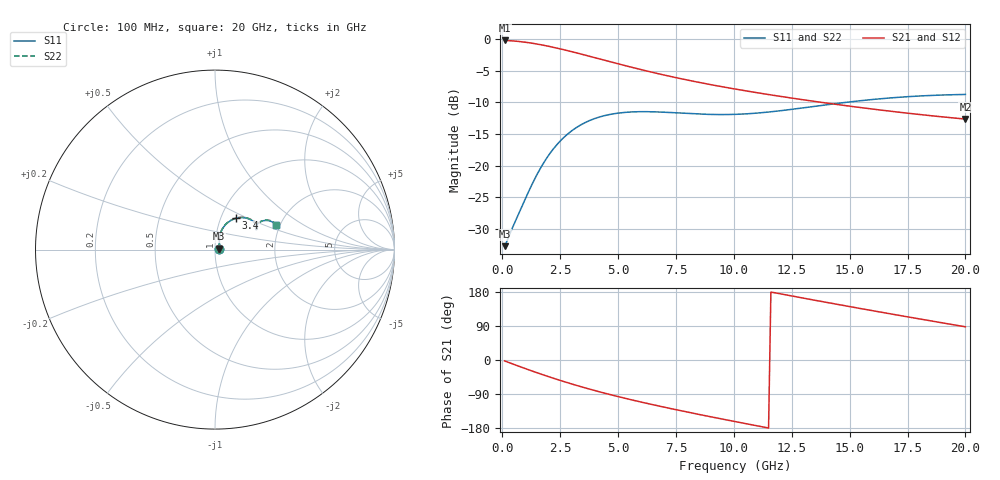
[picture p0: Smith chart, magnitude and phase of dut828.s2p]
! Touchstone file exported from HFSS 2024.1.0
!  File:  C:/UserFiles/LocalFiles/RDL_TSV_Batchsim/temp_RDL_TSV_828_1779917174.aedt
!  Generated:  05:44:18 AM May 28, 2026
!  Design:  RDL_TSV
!  Project:  temp_RDL_TSV_828_1779917174
!  Setup:  Setup1
!  Solution:  Sweep
! Variables:
!  dtsv = 8.38um
!  hbump = 3um
!  htsv = 99.03um
!  ldown = 450.53um
!  lrdl = 613.71um
!  p = 40
!  p1 = 53.86um
!  rhole = 10um
!  subl = 3806.43um
!  t = 450um
!  tdown = 4.2um
!  trdl = 2.84um
!  viad = 10um
!  wdown = 13.14um
!  wrdl = 23.73um
!  xbump = 18um
# GHz S MA R 50.000000
! Terminal data exported
! Port[1] = TM1_1_T1
! Port[2] = TM1_4_T1
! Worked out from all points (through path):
!   200 points, 100 MHz to 20 GHz, reference 50 ohm
!   highest |S21| = -0.20 dB at 100 MHz (marker M1); lowest = -12.6 dB at 20 GHz (marker M2)
!   group delay of S21, straight-line fit = 35.7 ps
!   lowest |S11| = -32.7 dB at 100 MHz (marker M3), VSWR 1.05, Z = 52.3 + j0.567 ohm
!   |S11| at or under -10 dB: start of sweep to 14.82 GHz
!   |S22| runs from -32.7 to -8.7 dB; largest |S21 - S12| = 9.1e-15
!   S11 on the Smith chart (normalised r, x): 100 MHz: 1.05, +0.01; 3.4 GHz: 1.18, +0.43; 20 GHz: 1.91, +0.59
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0.1  0.02308 13.6  0.9772 -2.4  0.9772 -2.4  0.02308 13.6
! Gamma 0 0 0 0
! Port Impedance 50 0 50 0
0.5  0.03426 45.0  0.9675 -11.6  0.9675 -11.6  0.03424 45.1
0.9  0.04999 61.5  0.951 -20.6  0.951 -20.6  0.04997 61.7
1.4  0.07853 70.6  0.9221 -31.5  0.9221 -31.5  0.07861 70.8
1.8  0.1062 71.4  0.894 -39.9  0.894 -39.9  0.1065 71.7
2.2  0.1353 69.1  0.8631 -48.0  0.8631 -48.0  0.1357 69.4
2.6  0.1633 65.2  0.8303 -55.8  0.8303 -55.8  0.1639 65.5
3  0.1887 60.6  0.7968 -63.3  0.7968 -63.3  0.1896 60.9
3.4  0.2106 55.8  0.7632 -70.5  0.7632 -70.5  0.2117 56.2
3.5  0.2155 54.7  0.7549 -72.2  0.7549 -72.2  0.2166 55.0
4.3  0.2455 45.8  0.6905 -85.6  0.6905 -85.6  0.247 46.1
5.1  0.2615 38.4  0.6319 -98.1  0.6319 -98.1  0.2634 38.7
5.9  0.2671 32.7  0.5801 -109.7  0.5801 -109.7  0.2692 33.0
6.8  0.2655 28.4  0.5301 -122.0  0.5301 -122.0  0.2678 28.7
8.3  0.2568 25.7  0.4629 -141.2  0.4629 -141.2  0.2594 25.9
10.1  0.2547 27.6  0.4021 -163.1  0.4021 -163.1  0.2572 27.8
11.6  0.2666 30.2  0.3625 179.3  0.3625 179.3  0.2692 30.3
13.4  0.293 31.5  0.3238 158.8  0.3238 158.8  0.2956 31.6
15  0.3191 30.5  0.2954 140.9  0.2954 140.9  0.3218 30.6
16.7  0.3426 27.9  0.2702 122.4  0.2702 122.4  0.3454 28.1
18.3  0.3576 24.9  0.2506 105.4  0.2506 105.4  0.3605 25.1
20  0.3656 21.7  0.2335 87.6  0.2335 87.6  0.3686 21.9
